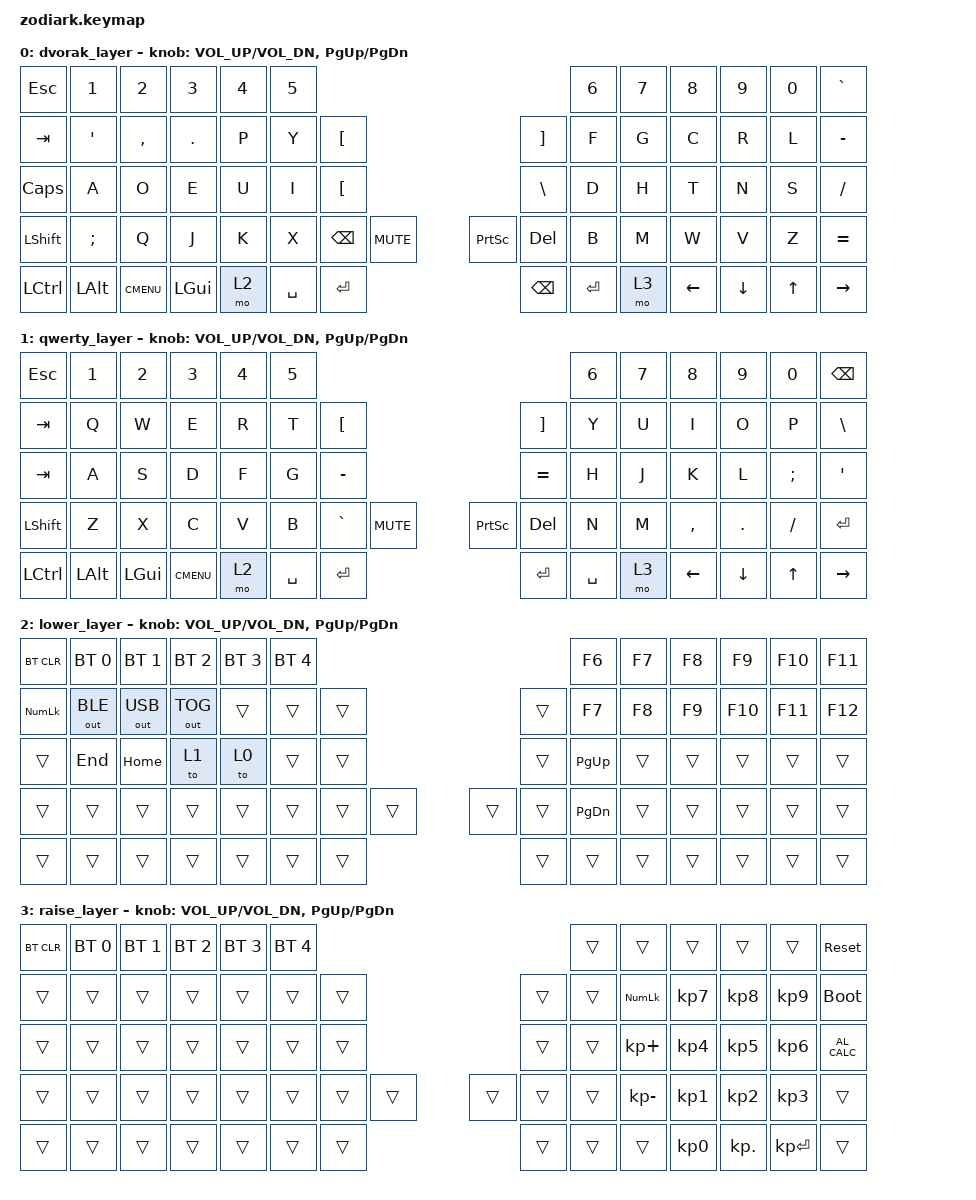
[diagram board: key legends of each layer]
/*
 * Copyright (c) 2020 The ZMK Contributors
 *
 * SPDX-License-Identifier: MIT
 */

#include <behaviors.dtsi>
#include <dt-bindings/zmk/keys.h>
#include <dt-bindings/zmk/bt.h>
//#include <dt-bindings/zmk/ext_power.h>
//#include <dt-bindings/zmk/outputs.h>

/ {
    keymap {
        compatible = "zmk,keymap";

		dvorak_layer {

// ------------------------------------------------------------------------------------------------------------
// | ESC   |  1  |  2   |  3  |  4   |  5   |                                  |  6   |  7    |  8    |  9   |   0   |   `   |
// | TAB   |  '  |  ,   |  .  |  P   |  Y   |   [    |                 |   ]   |  F   |  G    |  C    |  R   |   L   |   -   |
// | CAPS  |  A  |  O   |  E  |  U   |  I   |   [    |                 |   \   |  D   |  H    |  T    |  N   |   S   |   /   |
// | SHIFT |  ;  |  Q   |  J  |  K   |  X   |  BSPC  | MUTE  | | PRNT  |  DEL  |  B   |  M    |  W    |  V   |   Z   |   =   |
// | CTRL  | ALT | MENU | GUI | LOWER|     SPACE     | ENTER | | BSPC  |    ENTER     | RAISE| LEFT  | DOWN  |  UP   | RIGHT |
            bindings = <
&kp ESC   &kp N1   &kp N2      &kp N3   &kp N4  &kp N5                                                 &kp N6 &kp N7 &kp N8   &kp N9   &kp N0  &kp GRAVE
&kp TAB   &kp SQT  &kp COMMA   &kp DOT  &kp P   &kp Y  &kp LBKT                               &kp RBKT &kp F  &kp G  &kp C    &kp R    &kp L   &kp MINUS
&kp CAPS  &kp A    &kp O       &kp E    &kp U   &kp I  &kp LBKT                               &kp BSLH &kp D  &kp H  &kp T    &kp N    &kp S   &kp FSLH
&kp LSHFT &kp SEMI &kp Q       &kp J    &kp K   &kp X  &kp BSPC &kp C_MUTE         &kp PSCRN  &kp DEL  &kp B  &kp M  &kp W    &kp V    &kp Z   &kp EQUAL
&kp LCTRL &kp LALT &kp K_CMENU &kp LGUI &mo 2      &kp SPACE    &kp RET            &kp BSPC      &kp RET      &mo 3  &kp LEFT &kp DOWN &kp UP  &kp RIGHT
            >;

            sensor-bindings = <&inc_dec_kp C_VOL_UP C_VOL_DN &inc_dec_kp PG_UP PG_DN>;
        };

        qwerty_layer {
// ------------------------------------------------------------------------------------------------------------
// |  ESC  |  1  |  2  |  3   |  4   |  5   |                                  |  6   |  7    |  8    |  9   |   0   | BKSPC |
// |  TAB  |  Q  |  W  |  E   |  R   |  T   |   [    |                 |   ]   |  Y   |  U    |  I    |  O   |   P   |   \   |
// |  CAPS |  A  |  S  |  D   |  F   |  G   |   -    |                 |   =   |  H   |  J    |  K    |  L   |   ;   |   '   |
// | SHIFT |  Z  |  X  |  C   |  V   |  B   |   `    | MUTE  | | PRNT  |  DEL  |  N   |  M    |  ,    |  .   |   /   | ENTER |
// | CTRL  | ALT | GUI | MENU | LOWER|     SPACE     | ENTER | | ENTER |    SPACE     | RAISE| LEFT  | DOWN  |  UP   | RIGHT |
            bindings = <
&kp ESC   &kp N1 &kp N2   &kp N3   &kp N4    &kp N5                                           &kp N6 &kp N7 &kp N8    &kp N9   &kp N0   &kp BSPC
&kp TAB   &kp Q  &kp W    &kp E    &kp R     &kp T &kp LBKT                         &kp RBKT  &kp Y  &kp U  &kp I     &kp O    &kp P    &kp BSLH
&kp TAB   &kp A  &kp S    &kp D    &kp F     &kp G &kp MINUS                        &kp EQUAL &kp H  &kp J  &kp K     &kp L    &kp SEMI &kp SQT
&kp LSHFT &kp Z  &kp X    &kp C    &kp V     &kp B &kp GRAVE &kp C_MUTE  &kp PSCRN  &kp DEL   &kp N  &kp M  &kp COMMA &kp DOT  &kp FSLH &kp RET
&kp LCTRL &kp LALT &kp LGUI &kp K_CMENU &mo 2   &kp SPACE    &kp RET     &kp RET      &kp SPACE      &mo 3  &kp LEFT  &kp DOWN &kp UP   &kp RIGHT
            >;

            sensor-bindings = <&inc_dec_kp C_VOL_UP C_VOL_DN &inc_dec_kp PG_UP PG_DN>;
        };

        lower_layer {
// ------------------------------------------------------------------------------------------------------------
// |BTCLR  | BT1  | BT2   |  BT3  |  BT4 |  BT5 |                                  |  F1  |  F2   |  F3   |  F4  |  F5   |  F6   |
// |       |OUT_BT|OUT_USB|OUT_TOG|      |      |        |                   |       |  F7  |  F8   |  F9   |  F10 |  F11  |  F12  |
// |       |  END |  HOME |QWERTY |DVORAK|      |        |                   |       |  PGUP|       |       |      |       |       |
// |       |      |       |       |      |      |        |       | |         |       |  PGDN|       |       |      |       |       |
// |       |      |       |       |      |               |       | |         |              |       |       |      |       |       |
            bindings = <
&bt BT_CLR &bt BT_SEL 0 &bt BT_SEL 1 &bt BT_SEL 2 &bt BT_SEL 3 &bt BT_SEL 4                 &kp F6      &kp F7  &kp F8   &kp F9   &kp F10  &kp F11
&kp KP_NUM &out OUT_BLE &out OUT_USB &out OUT_TOG  &trans  &trans  &trans                &trans   &kp F7      &kp F8  &kp F9   &kp F10  &kp F11  &kp F12
&trans     &kp END   &kp HOME &to 1  &to 0   &trans &trans                &trans   &kp PG_UP   &trans  &trans   &trans   &trans   &trans
&trans     &trans &trans &trans  &trans &trans &trans &trans    &trans  &trans &kp PG_DN   &trans  &trans   &trans   &trans   &trans
&trans     &trans &trans &trans &trans &trans &trans           &trans     &trans          &trans  &trans   &trans   &trans   &trans
            >;

            sensor-bindings = <&inc_dec_kp C_VOL_UP C_VOL_DN &inc_dec_kp PG_UP PG_DN>;
        };

        raise_layer {
// ------------------------------------------------------------------------------------------------------------
// |BTCLR  | BT1 | BT2 |  BT3 |  BT4 |  BT5 |                                  |      |       |       |      |       | RESET |
// |       |     |     |      |      |      |        |                   |       |      |NUMLOCK|   7   |   8  |   9   |BLOADER|
// |       |     |     |      |      |      |        |                   |       |      |   +   |   4   |   5  |   6   | CALC  |
// |       |     |     |      |      |      |        |       | |         |       |      |   -   |   1   |   2  |   3   |       |
// |       |     |     |      |      |               |       | |         |              |       |   0   |   .  |   =   |       |
            bindings = <
&bt BT_CLR &bt BT_SEL 0 &bt BT_SEL 1 &bt BT_SEL 2 &bt BT_SEL 3 &bt BT_SEL 4                          &trans &trans       &trans    &trans     &trans       &sys_reset
&trans   &trans        &trans        &trans       &trans      &trans  &trans                 &trans  &trans &kp KP_NUM   &kp KP_N7 &kp KP_N8  &kp KP_N9    &bootloader
&trans   &trans        &trans        &trans       &trans      &trans  &trans                 &trans  &trans &kp KP_PLUS  &kp KP_N4 &kp KP_N5  &kp KP_N6    &kp C_AL_CALC
&trans   &trans        &trans        &trans       &trans      &trans  &trans &trans  &trans  &trans  &trans &kp KP_MINUS &kp KP_N1 &kp KP_N2  &kp KP_N3    &trans
&trans   &trans        &trans        &trans       &trans         &trans      &trans  &trans      &trans     &trans       &kp KP_N0 &kp KP_DOT &kp KP_ENTER &trans
            >;

            sensor-bindings = <&inc_dec_kp C_VOL_UP C_VOL_DN &inc_dec_kp PG_UP PG_DN>;
        };
    };
};
